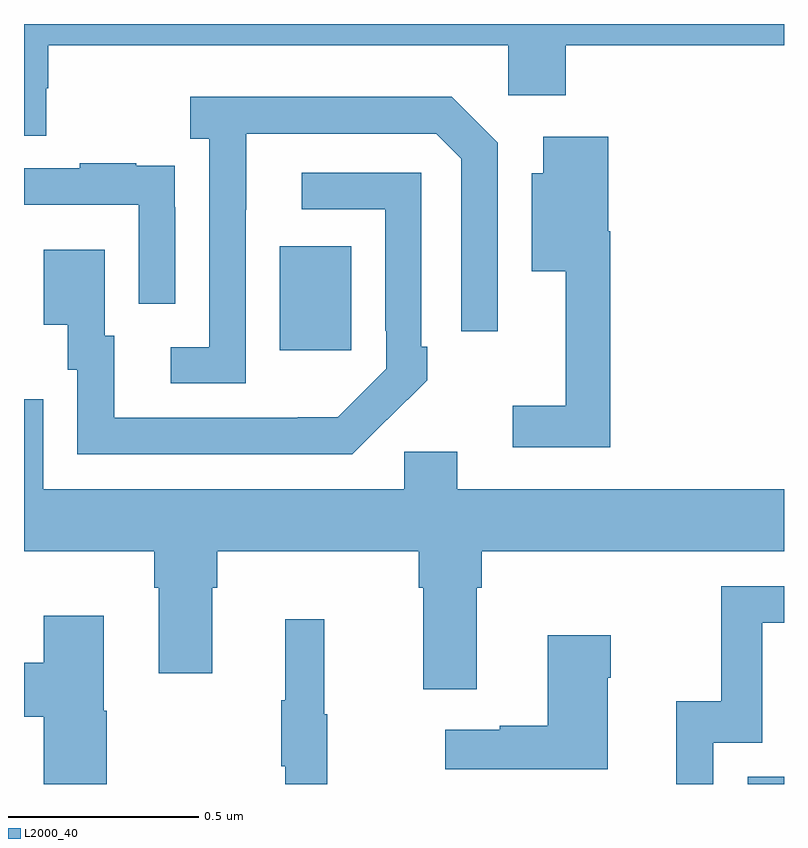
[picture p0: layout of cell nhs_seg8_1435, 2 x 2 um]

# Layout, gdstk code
import gdstk
lib = gdstk.Library(unit=1e-6, precision=1e-09)
def R(c, l, rs):  # rectangles x0, y0, x1, y1
    for r in rs: c.add(gdstk.rectangle(r[:2], r[2:], *l))
def P(c, l, *ps):  # polygons
    for p in ps: c.add(gdstk.Polygon(p, *l))
L2000_40 = (2000, 40)

nhs_seg8_1435 = lib.new_cell('nhs_seg8_1435')
R(nhs_seg8_1435, L2000_40, [(131.904,1103.9,132,1103.919), (130.673,1105.041,130.861,1105.315)])
P(nhs_seg8_1435, L2000_40, [(130.059,1105.731),(130.064,1105.731),(130.064,1105.844),(131.274,1105.844),(131.274,1105.713),(131.426,1105.713),(131.426,1105.844),(132,1105.844),(132,1105.9),(130,1105.9),(130,1105.606),(130.059,1105.606)],
  [(130.584,1105.411),(130.585,1105.411),(130.585,1105.611),(131.085,1105.611),(131.151,1105.545),(131.151,1105.092),(131.247,1105.092),(131.247,1105.587),(131.126,1105.708),(130.437,1105.708),(130.437,1105.598),(130.488,1105.598),(130.488,1105.05),(130.386,1105.05),(130.386,1104.954),(130.584,1104.954)],
  [(131.543,1105.354),(131.537,1105.354),(131.537,1105.603),(131.366,1105.603),(131.366,1105.507),(131.336,1105.507),(131.336,1105.25),(131.426,1105.25),(131.426,1104.895),(131.286,1104.895),(131.286,1104.786),(131.543,1104.786)],
  [(130.398,1105.418),(130.397,1105.418),(130.397,1105.527),(130.295,1105.527),(130.295,1105.534),(130.147,1105.534),(130.147,1105.521),(130,1105.521),(130,1105.425),(130.302,1105.425),(130.302,1105.164),(130.398,1105.164)],
  [(130.955,1104.859),(130.956,1104.858),(131.061,1104.963),(131.061,1105.051),(131.046,1105.051),(131.046,1105.509),(130.731,1105.509),(130.731,1105.413),(130.95,1105.413),(130.95,1105.093),(130.953,1105.093),(130.953,1104.993),(130.825,1104.865),(130.721,1104.865),(130.721,1104.864),(130.237,1104.864),(130.237,1105.08),(130.213,1105.08),(130.213,1105.306),(130.052,1105.306),(130.052,1105.109),(130.115,1105.109),(130.115,1104.99),(130.14,1104.99),(130.14,1104.768),(130.864,1104.768)],
  [(131.191,1104.416),(131.204,1104.416),(131.204,1104.512),(132,1104.512),(132,1104.676),(131.14,1104.676),(131.14,1104.774),(131.001,1104.774),(131.001,1104.676),(130.051,1104.676),(130.051,1104.912),(130,1104.912),(130,1104.512),(130.343,1104.512),(130.343,1104.416),(130.355,1104.416),(130.355,1104.192),(130.495,1104.192),(130.495,1104.416),(130.508,1104.416),(130.508,1104.512),(131.039,1104.512),(131.039,1104.416),(131.051,1104.416),(131.051,1104.15),(131.191,1104.15)],
  [(131.814,1104.009),(131.943,1104.009),(131.943,1104.324),(132,1104.324),(132,1104.42),(131.835,1104.42),(131.835,1104.118),(131.717,1104.118),(131.717,1103.9),(131.814,1103.9)],
  [(130.218,1104.093),(130.21,1104.093),(130.21,1104.343),(130.052,1104.343),(130.052,1104.219),(130,1104.219),(130,1104.077),(130.052,1104.077),(130.052,1103.9),(130.218,1103.9)],
  [(130.798,1104.084),(130.79,1104.084),(130.79,1104.334),(130.688,1104.334),(130.688,1104.121),(130.677,1104.121),(130.677,1103.947),(130.688,1103.947),(130.688,1103.9),(130.798,1103.9)],
  [(131.536,1104.179),(131.544,1104.179),(131.544,1104.292),(131.378,1104.292),(131.378,1104.053),(131.252,1104.053),(131.252,1104.043),(131.109,1104.043),(131.109,1103.939),(131.536,1103.939)])

lib.write_gds('nhs_seg8_1435.gds')
